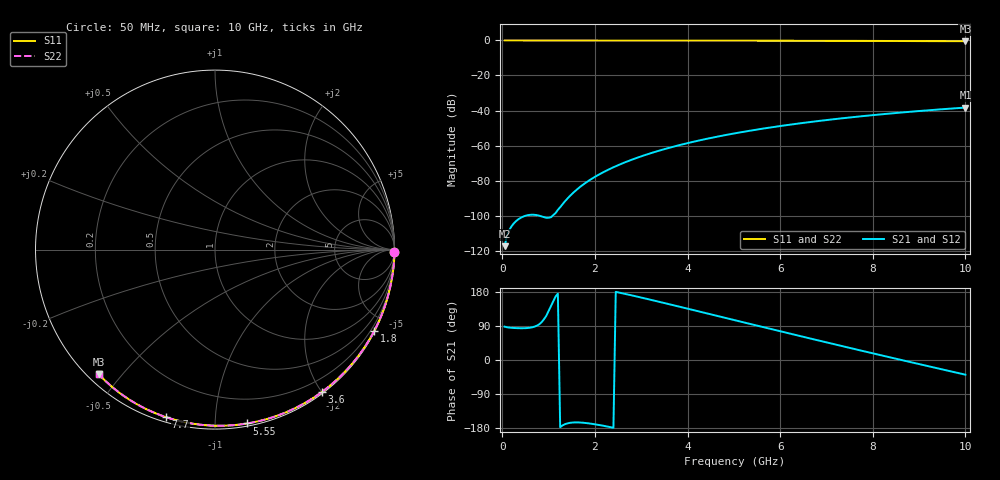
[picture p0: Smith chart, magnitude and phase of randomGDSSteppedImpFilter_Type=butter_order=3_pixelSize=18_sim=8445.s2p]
! freq	dB(S11)	phase(S11)	dB(S12)	phase(S12)
!  dB(S21)	phase(S21)	dB(S22)	phase(S22)
!S-par simulation data
#  GHz  S  DB  R 50
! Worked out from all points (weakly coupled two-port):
!   200 points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, 50 MHz to 10 GHz, reference 50 ohm
!   highest |S21| = -38.31 dB at 10 GHz (marker M1); lowest = -117.4 dB at 50 MHz (marker M2)
!   lowest |S11| = -0.4 dB at 10 GHz (marker M3), VSWR 38.71, Z = 1.53 - j21.7 ohm
!   |S11| at or under -10 dB: nowhere
!   |S22| runs from -0.4 to 0.0 dB; largest |S21 - S12| = 0
!   S11 on the Smith chart (normalised r, x): 50 MHz: open; 1.8 GHz: 0.04, -4.13; 3.6 GHz: 0.02, -2.00; 5.55 GHz: 0.02, -1.20; 7.7 GHz: 0.02, -0.75; 10 GHz: 0.03, -0.43
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0.05  -0.00 -0.8  -117.45 88.0  -117.45 88.0  -0.00 -0.8
0.9  -0.02 -13.7  -100.92 107.6  -100.92 107.6  -0.02 -13.7
1.75  -0.03 -26.5  -82.21 -165.6  -82.21 -165.6  -0.03 -26.5
1.8  -0.03 -27.2  -81.26 -166.2  -81.26 -166.2  -0.03 -27.2
1.85  -0.04 -28.0  -80.36 -166.9  -80.36 -166.9  -0.04 -28.0
1.9  -0.04 -28.7  -79.50 -167.8  -79.50 -167.8  -0.04 -28.7
2.05  -0.04 -30.9  -77.11 -170.6  -77.11 -170.6  -0.04 -30.9
2.25  -0.04 -33.9  -74.29 -175.2  -74.29 -175.2  -0.04 -33.9
2.45  -0.05 -36.8  -71.80 179.8  -71.80 179.8  -0.05 -36.8
2.65  -0.05 -39.7  -69.57 174.5  -69.57 174.5  -0.05 -39.7
3  -0.06 -44.7  -66.15 164.8  -66.15 164.8  -0.06 -44.7
3.4  -0.07 -50.4  -62.81 153.2  -62.81 153.2  -0.07 -50.4
3.6  -0.07 -53.2  -61.32 147.4  -61.32 147.4  -0.07 -53.2
4.3  -0.09 -62.9  -56.81 126.6  -56.81 126.6  -0.09 -62.9
5.05  -0.11 -73.0  -52.88 104.2  -52.88 104.2  -0.11 -73.0
5.55  -0.13 -79.5  -50.66 89.3  -50.66 89.3  -0.13 -79.5
6.1  -0.15 -86.5  -48.49 72.9  -48.49 72.9  -0.15 -86.5
6.7  -0.18 -94.1  -46.39 55.3  -46.39 55.3  -0.18 -94.1
7.7  -0.24 -106.2  -43.42 26.2  -43.42 26.2  -0.24 -106.2
8.35  -0.29 -113.9  -41.76 7.6  -41.76 7.6  -0.29 -113.9
9.15  -0.36 -123.3  -39.97 -15.0  -39.97 -15.0  -0.36 -123.3
10  -0.45 -133.1  -38.31 -38.8  -38.31 -38.8  -0.45 -133.1
